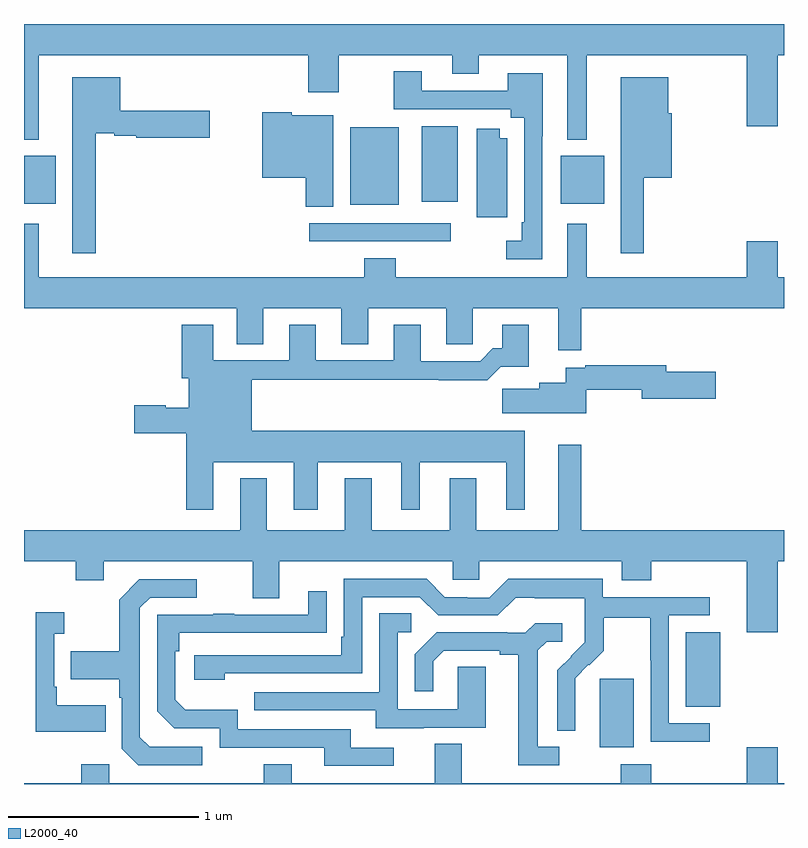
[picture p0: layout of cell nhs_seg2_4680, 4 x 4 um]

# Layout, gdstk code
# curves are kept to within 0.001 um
import gdstk
lib = gdstk.Library(unit=1e-6, precision=1e-09)
def R(c, l, rs):  # rectangles x0, y0, x1, y1
    for r in rs: c.add(gdstk.rectangle(r[:2], r[2:], *l))
def P(c, l, *ps):  # polygons
    for p in ps: c.add(gdstk.Polygon(p, *l))
L2000_40 = (2000, 40)

nhs_seg2_4680 = lib.new_cell('nhs_seg2_4680')
R(nhs_seg2_4680, L2000_40, [(368.03,643.994,368.209,644.355), (368.483,644.206,368.665,644.599), (366.501,646.656,367.246,646.752), (366.716,646.85,366.973,647.257), (365,646.853,365.167,647.107), (367.826,646.853,368.053,647.107), (367.094,646.865,367.282,647.263)])
P(nhs_seg2_4680, L2000_40, [(365,647.192),(365.077,647.192),(365.077,647.636),(366.497,647.636),(366.497,647.442),(366.657,647.442),(366.657,647.636),(367.253,647.636),(367.253,647.537),(367.393,647.537),(367.393,647.636),(367.859,647.636),(367.859,647.192),(367.963,647.192),(367.963,647.636),(368.804,647.636),(368.804,647.262),(368.968,647.262),(368.968,647.636),(369,647.636),(369,647.8),(365,647.8)],
  [(367.728,647.21),(367.729,647.21),(367.729,647.542),(367.547,647.542),(367.547,647.448),(367.093,647.448),(367.093,647.551),(366.946,647.551),(366.946,647.352),(367.562,647.352),(367.562,647.306),(367.632,647.306),(367.632,646.756),(367.62,646.756),(367.62,646.659),(367.539,646.659),(367.539,646.563),(367.728,646.563)],
  [(368.263,646.991),(368.41,646.991),(368.41,647.331),(368.392,647.331),(368.392,647.521),(368.141,647.521),(368.141,646.593),(368.263,646.593)],
  [(365.377,647.225),(365.474,647.225),(365.474,647.213),(365.592,647.213),(365.592,647.201),(365.977,647.201),(365.977,647.343),(365.506,647.343),(365.506,647.521),(365.255,647.521),(365.255,646.593),(365.377,646.593)],
  [(366.628,647.32),(366.408,647.32),(366.408,647.335),(366.254,647.335),(366.254,646.991),(366.482,646.991),(366.482,646.837),(366.628,646.837)],
  [(367.543,647.2),(367.504,647.2),(367.504,647.249),(367.382,647.249),(367.382,646.782),(367.543,646.782)],
  [(367.933,646.304),(369,646.304),(369,646.468),(368.968,646.468),(368.968,646.657),(368.804,646.657),(368.804,646.468),(367.963,646.468),(367.963,646.75),(367.859,646.75),(367.859,646.468),(366.956,646.468),(366.956,646.567),(366.791,646.567),(366.791,646.468),(365.077,646.468),(365.077,646.75),(365,646.75),(365,646.304),(366.119,646.304),(366.119,646.114),(366.259,646.114),(366.259,646.304),(366.671,646.304),(366.671,646.114),(366.811,646.114),(366.811,646.304),(367.223,646.304),(367.223,646.114),(367.362,646.114),(367.362,646.304),(367.811,646.304),(367.811,646.083),(367.933,646.083)],
  [(365.995,645.494),(366.419,645.494),(366.419,645.243),(366.547,645.243),(366.547,645.494),(366.986,645.494),(366.986,645.243),(367.084,645.243),(367.084,645.494),(367.538,645.494),(367.538,645.243),(367.636,645.243),(367.636,645.658),(366.199,645.658),(366.199,645.928),(367.183,645.928),(367.183,645.926),(367.439,645.926),(367.508,645.995),(367.657,645.995),(367.657,646.216),(367.517,646.216),(367.517,646.093),(367.468,646.093),(367.401,646.026),(367.087,646.026),(367.087,646.216),(366.947,646.216),(366.947,646.029),(366.535,646.029),(366.535,646.216),(366.395,646.216),(366.395,646.029),(365.995,646.029),(365.995,646.216),(365.831,646.216),(365.831,645.936),(365.867,645.936),(365.867,645.781),(365.747,645.781),(365.747,645.794),(365.58,645.794),(365.58,645.647),(365.855,645.647),(365.855,645.243),(365.995,645.243)],
  [(367.96,645.874),(368.252,645.874),(368.252,645.827),(368.641,645.827),(368.641,645.969),(368.38,645.969),(368.38,646.003),(367.954,646.003),(367.954,645.99),(367.85,645.99),(367.85,645.913),(367.712,645.913),(367.712,645.881),(367.518,645.881),(367.518,645.752),(367.96,645.752)],
  [(368.968,644.972),(369,644.972),(369,645.136),(367.933,645.136),(367.933,645.586),(367.811,645.586),(367.811,645.136),(367.381,645.136),(367.381,645.409),(367.241,645.409),(367.241,645.136),(366.829,645.136),(366.829,645.409),(366.689,645.409),(366.689,645.136),(366.277,645.136),(366.277,645.409),(366.137,645.409),(366.137,645.136),(365,645.136),(365,644.972),(365.272,644.972),(365.272,644.873),(365.419,644.873),(365.419,644.972),(366.203,644.972),(366.203,644.778),(366.343,644.778),(366.343,644.972),(367.257,644.972),(367.257,644.874),(367.395,644.874),(367.395,644.972),(368.147,644.972),(368.147,644.873),(368.3,644.873),(368.3,644.972),(368.804,644.972),(368.804,644.598),(368.968,644.598)],
  [(368.608,644.121),(368.394,644.121),(368.394,644.688),(368.608,644.688),(368.608,644.784),(368.046,644.784),(368.046,644.881),(367.549,644.881),(367.449,644.781),(367.334,644.781),(367.334,644.784),(367.215,644.784),(367.119,644.88),(366.684,644.88),(366.684,644.575),(366.671,644.575),(366.671,644.478),(365.895,644.478),(365.895,644.348),(366.056,644.348),(366.056,644.382),(366.78,644.382),(366.78,644.784),(367.083,644.784),(367.179,644.688),(367.494,644.688),(367.587,644.781),(367.687,644.781),(367.687,644.777),(367.95,644.777),(367.95,644.643),(367.952,644.643),(367.952,644.546),(367.806,644.398),(367.806,644.08),(367.902,644.08),(367.901,644.357),(367.971,644.427),(367.974,644.424),(368.051,644.501),(368.051,644.676),(368.296,644.676),(368.296,644.452),(368.298,644.452),(368.298,644.023),(368.608,644.023)],
  [(365.938,643.995),(365.661,643.995),(365.61,644.046),(365.61,644.727),(365.664,644.781),(365.908,644.781),(365.908,644.877),(365.607,644.877),(365.502,644.771),(365.502,644.499),(365.245,644.499),(365.245,644.351),(365.502,644.351),(365.502,644.255),(365.514,644.255),(365.514,643.986),(365.601,643.899),(365.938,643.899)],
  [(366.946,643.992),(366.721,643.992),(366.721,644.088),(366.126,644.088),(366.126,644.191),(365.849,644.191),(365.796,644.244),(365.796,644.498),(365.816,644.498),(365.816,644.595),(366.593,644.596),(366.593,644.815),(366.497,644.815),(366.497,644.691),(366.107,644.691),(366.107,644.696),(365.995,644.696),(365.995,644.691),(365.7,644.691),(365.7,644.184),(365.79,644.094),(366.03,644.094),(366.03,643.992),(366.581,643.992),(366.581,643.896),(366.946,643.896)],
  [(365.429,644.215),(365.173,644.215),(365.173,644.311),(365.16,644.311),(365.16,644.591),(365.212,644.591),(365.212,644.704),(365.063,644.704),(365.063,644.075),(365.429,644.075)],
  [(367.105,644.097),(367.429,644.097),(367.429,644.417),(367.284,644.417),(367.284,644.193),(366.966,644.193),(366.966,644.598),(367.039,644.598),(367.039,644.699),(366.87,644.699),(366.87,644.283),(366.211,644.283),(366.211,644.187),(366.851,644.187),(366.851,644.093),(367.105,644.093)],
  [(367.816,643.995),(367.705,643.995),(367.705,644.503),(367.752,644.55),(367.834,644.55),(367.834,644.647),(367.69,644.647),(367.638,644.595),(367.544,644.595),(367.544,644.598),(367.172,644.598),(367.056,644.482),(367.056,644.289),(367.153,644.289),(367.153,644.445),(367.21,644.502),(367.505,644.502),(367.505,644.48),(367.601,644.48),(367.601,643.899),(367.816,643.899)],
  [(369,643.804),(368.968,643.804),(368.968,643.993),(368.804,643.993),(368.804,643.804),(368.3,643.804),(368.3,643.903),(368.14,643.903),(368.14,643.804),(367.303,643.804),(367.303,644.012),(367.163,644.012),(367.163,643.804),(366.409,643.804),(366.409,643.903),(366.262,643.903),(366.262,643.804),(365.448,643.804),(365.448,643.903),(365.302,643.903),(365.302,643.804),(365,643.804),(365,643.8),(369,643.8)])

lib.write_gds('nhs_seg2_4680.gds')
